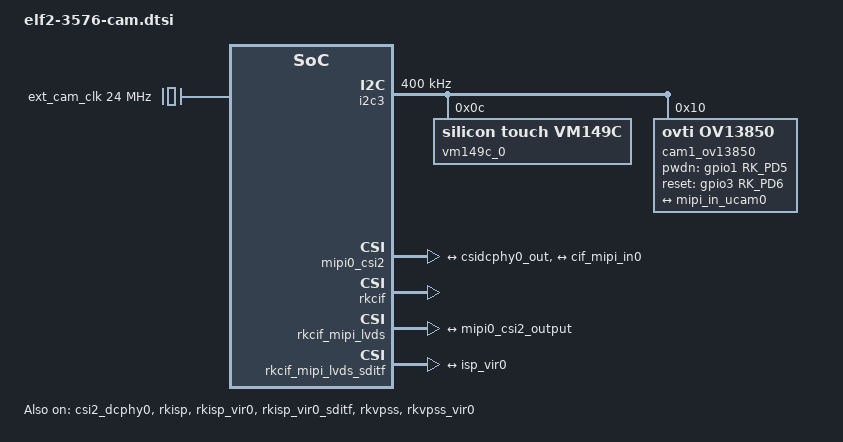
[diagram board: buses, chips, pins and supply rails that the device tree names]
// SPDX-License-Identifier: (GPL-2.0+ OR MIT)
/*
 * Copyright (c) 2024 Rockchip Electronics Co., Ltd.
 *
 */

/ {
	ext_cam_clk: external-camera-clock {
		compatible = "fixed-clock";
		clock-frequency = <24000000>;
		clock-output-names = "CLK_CAMERA_24MHZ";
		#clock-cells = <0>;
	};
};

&csi2_dcphy0 {
	status = "okay";

	ports {
		#address-cells = <1>;
		#size-cells = <0>;
		port@0 {
			reg = <0>;
			#address-cells = <1>;
			#size-cells = <0>;

			mipi_in_ucam0: endpoint@1 {
				reg = <1>;
				remote-endpoint = <&cam1_ov13850_out>;
				data-lanes = <1 2 3 4>;
			};
		};
		port@1 {
			reg = <1>;
			#address-cells = <1>;
			#size-cells = <0>;

			csidcphy0_out: endpoint@0 {
				reg = <0>;
				remote-endpoint = <&mipi0_csi2_input>;
			};
		};
	};
};

&i2c3 {
	status = "okay";
	clock-frequency = <400000>;

	vm149c_0: vm149c@0c {
		compatible = "silicon touch,vm149c";
		status = "okay";
		reg = <0x0c>;
		rockchip,camera-module-index = <0>;
		rockchip,camera-module-facing = "back";
	};

cam1_ov13850: cam1_ov13850@10 {
		compatible = "ovti,ov13850";
		status = "okay";
		reg = <0x10>;

		clocks = <&ext_cam_clk>;
		clock-names = "xvclk";

		pwdn-gpios = <&gpio1 RK_PD5 GPIO_ACTIVE_HIGH>;
		reset-gpios = <&gpio3  RK_PD6 GPIO_ACTIVE_HIGH>;
		rockchip,camera-module-index = <0>;
		rockchip,camera-module-facing = "back";
		rockchip,camera-module-name = "forlinx";
		rockchip,camera-module-lens-name = "default"; 
		lens-focus = <&vm149c_0>;

		port {
			cam1_ov13850_out: endpoint {
				remote-endpoint = <&mipi_in_ucam0>;
				data-lanes = <1 2>;
			};
		};
	};
};

&mipi0_csi2 {
	status = "okay";

	ports {
		#address-cells = <1>;
		#size-cells = <0>;

		port@0 {
			reg = <0>;
			#address-cells = <1>;
			#size-cells = <0>;

			mipi0_csi2_input: endpoint@1 {
				reg = <1>;
				remote-endpoint = <&csidcphy0_out>;
			};
		};

		port@1 {
			reg = <1>;
			#address-cells = <1>;
			#size-cells = <0>;

			mipi0_csi2_output: endpoint@0 {
				reg = <0>;
				remote-endpoint = <&cif_mipi_in0>;
			};
		};
	};
};

&rkcif {
	status = "okay";
};

&rkcif_mipi_lvds {
	status = "okay";

	port {
		cif_mipi_in0: endpoint {
			remote-endpoint = <&mipi0_csi2_output>;
		};
	};
};

&rkcif_mipi_lvds_sditf {
	status = "okay";

	port {
		mipi_lvds_sditf: endpoint {
			remote-endpoint = <&isp_vir0>;
		};
	};
};


&rkcif_mmu {
	status = "okay";
};

&rkisp {
	status = "okay";
};

&rkisp_mmu {
	status = "okay";
};

&rkisp_vir0 {
	status = "okay";

	port {
		#address-cells = <1>;
		#size-cells = <0>;

		isp_vir0: endpoint@0 {
			reg = <0>;
			remote-endpoint = <&mipi_lvds_sditf>;
		};
	};
};

&rkisp_vir0_sditf {
	status = "okay";
};

&rkvpss {
	status = "okay";
};

&rkvpss_mmu {
	status = "okay";
};

&rkvpss_vir0 {
	status = "okay";
};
